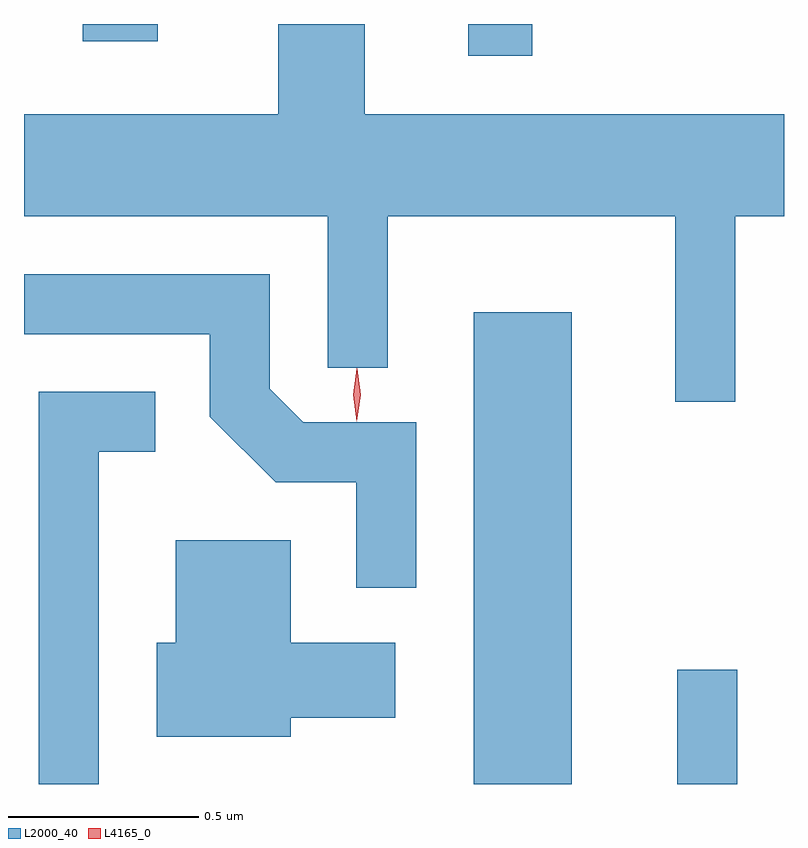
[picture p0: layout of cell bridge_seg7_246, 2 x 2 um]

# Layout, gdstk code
import gdstk
lib = gdstk.Library(unit=1e-6, precision=1e-09)
def R(c, l, rs):  # rectangles x0, y0, x1, y1
    for r in rs: c.add(gdstk.rectangle(r[:2], r[2:], *l))
def P(c, l, *ps):  # polygons
    for p in ps: c.add(gdstk.Polygon(p, *l))
L2000_40 = (2000, 40)
L4165_0 = (4165, 0)

bridge_seg7_246 = lib.new_cell('bridge_seg7_246')
R(bridge_seg7_246, L2000_40, [(1788.166,1688.402,1788.424,1689.644), (1788.701,1688.402,1788.859,1688.703), (1788.151,1690.318,1788.319,1690.402), (1787.136,1690.356,1787.334,1690.402)])
P(bridge_seg7_246, L2000_40, [(1788.854,1689.896),(1788.982,1689.896),(1788.982,1690.164),(1787.879,1690.164),(1787.879,1690.402),(1787.651,1690.402),(1787.651,1690.164),(1786.982,1690.164),(1786.982,1689.896),(1787.781,1689.896),(1787.781,1689.498),(1787.939,1689.498),(1787.939,1689.896),(1788.696,1689.896),(1788.696,1689.408),(1788.854,1689.408)],
  [(1788.014,1689.354),(1787.717,1689.354),(1787.629,1689.442),(1787.629,1689.744),(1786.982,1689.744),(1786.982,1689.586),(1787.471,1689.586),(1787.471,1689.369),(1787.644,1689.196),(1787.856,1689.196),(1787.856,1688.918),(1788.014,1688.918)],
  [(1787.179,1689.276),(1787.328,1689.276),(1787.328,1689.434),(1787.021,1689.434),(1787.021,1688.402),(1787.179,1688.402)],
  [(1787.684,1688.576),(1787.959,1688.576),(1787.959,1688.774),(1787.684,1688.774),(1787.684,1689.044),(1787.381,1689.044),(1787.381,1688.774),(1787.331,1688.774),(1787.331,1688.526),(1787.684,1688.526)])
P(bridge_seg7_246, L4165_0, [(1787.857,1689.356),(1787.857,1689.357),(1787.848,1689.426),(1787.858,1689.495),(1787.858,1689.496),(1787.859,1689.495),(1787.868,1689.426),(1787.858,1689.357)],
  [(1787.857,1689.359),(1787.857,1689.359),(1787.848,1689.426),(1787.858,1689.492),(1787.858,1689.492),(1787.859,1689.492),(1787.868,1689.426),(1787.858,1689.359)])

lib.write_gds('bridge_seg7_246.gds')
